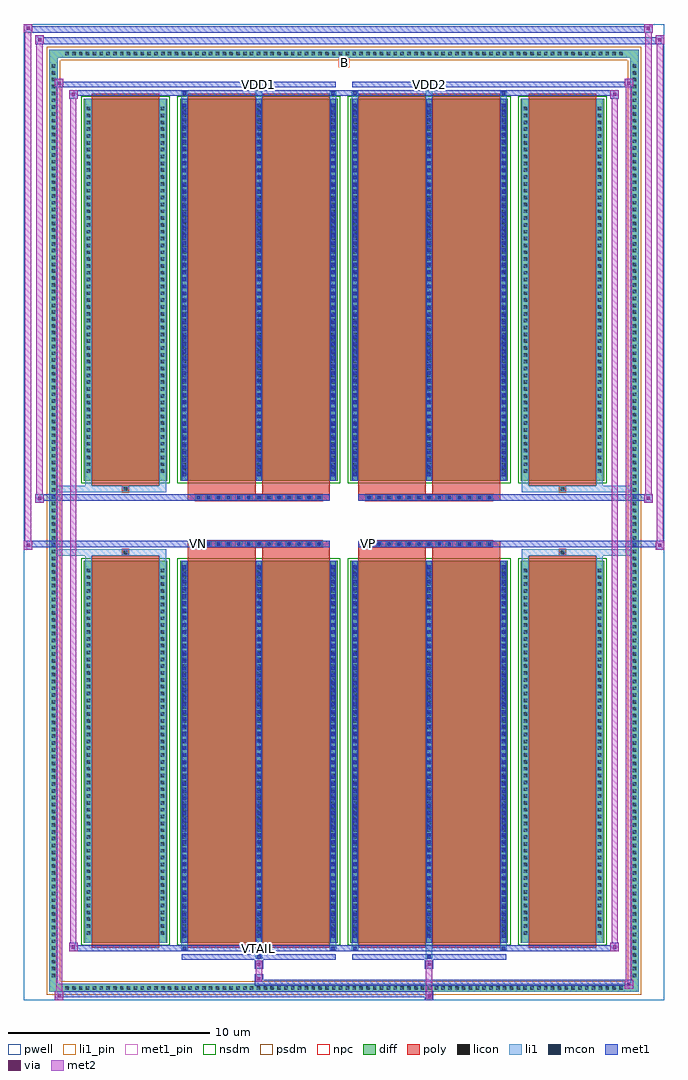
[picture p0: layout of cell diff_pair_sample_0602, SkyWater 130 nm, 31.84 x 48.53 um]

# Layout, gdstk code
import gdstk
lib = gdstk.Library(unit=1e-6, precision=5e-09)
def R(c, l, rs):  # rectangles x0, y0, x1, y1
    for r in rs: c.add(gdstk.rectangle(r[:2], r[2:], *l))
def A(c, l, x, y, w, h, nx, ny, dx, dy):  # array of equal rectangles
    R(c, l, [(x+i*dx, y+j*dy, x+i*dx+w, y+j*dy+h) for i in range(nx) for j in range(ny)])
def P(c, l, *ps):  # polygons
    for p in ps: c.add(gdstk.Polygon(p, *l))
pwell = (64, 44)
diff = (65, 20)
poly = (66, 20)
licon = (66, 44)
li1_pin = (67, 16)
li1 = (67, 20)
mcon = (67, 44)
met1_pin = (68, 16)
met1 = (68, 20)
via = (68, 44)
met2 = (69, 20)
nsdm = (93, 44)
psdm = (94, 20)
npc = (95, 20)

diff_pair_sample_0602 = lib.new_cell('diff_pair_sample_0602')
R(diff_pair_sample_0602, pwell, [(-15.92,-23.83,15.92,24.7), (-13.24,-22.02,-0.01,-0.8), (0.01,-22.02,13.24,-0.8), (-13.24,0.8,-0.01,22.02), (0.01,0.8,13.24,22.02)])
A(diff_pair_sample_0602, diff, -13.975, -23.43, 0.41, 0.41, 82, 2, 0.34, 46.45)
A(diff_pair_sample_0602, diff, -14.65, -22.815, 0.41, 0.41, 1, 134, 0, 0.34)
A(diff_pair_sample_0602, diff, 14.24, -22.815, 0.41, 0.41, 1, 134, 0, 0.34)
R(diff_pair_sample_0602, diff, [(-13.975,-23.43,13.975,-23.02), (-14.65,-22.815,-14.24,22.815), (14.24,-22.815,14.65,22.815), (-12.93,-20.975,-8.79,-1.985), (-8.15,-20.975,-0.32,-1.985), (0.32,-20.975,8.15,-1.985), (8.79,-20.975,12.93,-1.985), (-12.93,1.985,-8.79,20.975), (-8.15,1.985,-0.32,20.975), (0.32,1.985,8.15,20.975), (8.79,1.985,12.93,20.975), (-13.975,23.02,13.975,23.43)])
P(diff_pair_sample_0602, diff, [(14.65,23.43),(-14.65,23.43),(-14.65,-23.02),(-14.24,-23.02),(-14.24,23.02),(14.24,23.02),(14.24,-23.02),(-14.24,-23.02),(-14.65,-23.02),(-14.65,-23.43),(14.65,-23.43)])
A(diff_pair_sample_0602, poly, -7.4, -1.33, 0.33, 0.33, 13, 2, 0.5, 2.33)
A(diff_pair_sample_0602, poly, 1.07, -1.33, 0.33, 0.33, 13, 2, 0.5, 2.33)
R(diff_pair_sample_0602, poly, [(-12.54,-21.225,-9.18,-1.735), (-7.76,-21.225,-4.4,-1.735), (-4.07,-21.225,-0.71,-1.735), (0.71,-21.225,4.07,-1.735), (4.4,-21.225,7.76,-1.735), (9.18,-21.225,12.54,-1.735), (-11.025,-1.735,-10.695,-1.405), (-11.025,-1.735,-10.695,-1.405), (-7.76,-1.735,-4.4,-1.33), (-4.07,-1.735,-0.71,-1.33), (0.71,-1.735,4.07,-1.33), (4.4,-1.735,7.76,-1.33), (10.695,-1.735,11.025,-1.405), (10.695,-1.735,11.025,-1.405), (-7.76,-1.33,-0.71,-1), (0.71,-1.33,7.76,-1), (-7.76,1,-0.71,1.33), (0.71,1,7.76,1.33), (-7.76,1.33,-4.4,1.735), (-4.07,1.33,-0.71,1.735), (0.71,1.33,4.07,1.735), (4.4,1.33,7.76,1.735), (-11.025,1.405,-10.695,1.735), (-11.025,1.405,-10.695,1.735), (10.695,1.405,11.025,1.735), (10.695,1.405,11.025,1.735), (-12.54,1.735,-9.18,21.225), (-7.76,1.735,-4.4,21.225), (-4.07,1.735,-0.71,21.225), (0.71,1.735,4.07,21.225), (4.4,1.735,7.76,21.225), (9.18,1.735,12.54,21.225)])
A(diff_pair_sample_0602, licon, -13.855, -23.31, 0.17, 0.17, 82, 2, 0.34, 46.45)
A(diff_pair_sample_0602, licon, -14.53, -22.695, 0.17, 0.17, 1, 134, 0, 0.34)
A(diff_pair_sample_0602, licon, 14.36, -22.695, 0.17, 0.17, 1, 134, 0, 0.34)
A(diff_pair_sample_0602, licon, -12.79, -20.575, 0.17, 0.17, 1, 54, 0, 0.34)
A(diff_pair_sample_0602, licon, -9.1, -20.575, 0.17, 0.17, 1, 54, 0, 0.34)
A(diff_pair_sample_0602, licon, -8.01, -20.575, 0.17, 0.17, 3, 54, 3.69, 0.34)
A(diff_pair_sample_0602, licon, 0.46, -20.575, 0.17, 0.17, 3, 54, 3.69, 0.34)
A(diff_pair_sample_0602, licon, 8.93, -20.575, 0.17, 0.17, 1, 54, 0, 0.34)
A(diff_pair_sample_0602, licon, 12.62, -20.575, 0.17, 0.17, 1, 54, 0, 0.34)
A(diff_pair_sample_0602, licon, -7.32, -1.25, 0.17, 0.17, 13, 2, 0.5, 2.33)
A(diff_pair_sample_0602, licon, 1.15, -1.25, 0.17, 0.17, 13, 2, 0.5, 2.33)
A(diff_pair_sample_0602, licon, -12.79, 2.385, 0.17, 0.17, 1, 54, 0, 0.34)
A(diff_pair_sample_0602, licon, -9.1, 2.385, 0.17, 0.17, 1, 54, 0, 0.34)
A(diff_pair_sample_0602, licon, -8.01, 2.385, 0.17, 0.17, 3, 54, 3.69, 0.34)
A(diff_pair_sample_0602, licon, 0.46, 2.385, 0.17, 0.17, 3, 54, 3.69, 0.34)
A(diff_pair_sample_0602, licon, 8.93, 2.385, 0.17, 0.17, 1, 54, 0, 0.34)
A(diff_pair_sample_0602, licon, 12.62, 2.385, 0.17, 0.17, 1, 54, 0, 0.34)
R(diff_pair_sample_0602, licon, [(-10.945,-1.655,-10.775,-1.485), (10.775,-1.655,10.945,-1.485), (-10.945,1.485,-10.775,1.655), (10.775,1.485,10.945,1.655)])
R(diff_pair_sample_0602, li1_pin, [(-0.25,22.52,0.25,23.02)])
A(diff_pair_sample_0602, li1, -13.935, -23.39, 0.33, 0.33, 82, 2, 0.34, 46.45)
A(diff_pair_sample_0602, li1, -14.61, -22.775, 0.33, 0.33, 1, 134, 0, 0.34)
A(diff_pair_sample_0602, li1, 14.28, -22.775, 0.33, 0.33, 1, 134, 0, 0.34)
A(diff_pair_sample_0602, li1, -8.09, -20.975, 0.33, 18.99, 3, 2, 3.69, 22.96)
A(diff_pair_sample_0602, li1, 0.38, -20.975, 0.33, 18.99, 3, 2, 3.69, 22.96)
A(diff_pair_sample_0602, li1, -8.01, -20.745, 0.17, 0.17, 3, 52, 3.69, 0.36)
A(diff_pair_sample_0602, li1, -8.01, -20.745, 0.17, 18.53, 3, 2, 3.69, 22.96)
A(diff_pair_sample_0602, li1, 0.46, -20.745, 0.17, 0.17, 3, 52, 3.69, 0.36)
A(diff_pair_sample_0602, li1, 0.46, -20.745, 0.17, 18.53, 3, 2, 3.69, 22.96)
A(diff_pair_sample_0602, li1, -12.87, -20.655, 0.33, 0.33, 1, 54, 0, 0.34)
A(diff_pair_sample_0602, li1, -9.18, -20.655, 0.33, 0.33, 1, 54, 0, 0.34)
A(diff_pair_sample_0602, li1, -8.09, -20.655, 0.33, 0.33, 3, 54, 3.69, 0.34)
A(diff_pair_sample_0602, li1, 0.38, -20.655, 0.33, 0.33, 3, 54, 3.69, 0.34)
A(diff_pair_sample_0602, li1, 8.85, -20.655, 0.33, 0.33, 1, 54, 0, 0.34)
A(diff_pair_sample_0602, li1, 12.54, -20.655, 0.33, 0.33, 1, 54, 0, 0.34)
A(diff_pair_sample_0602, li1, -7.4, -1.33, 0.33, 0.33, 13, 2, 0.5, 2.33)
A(diff_pair_sample_0602, li1, 1.07, -1.33, 0.33, 0.33, 13, 2, 0.5, 2.33)
A(diff_pair_sample_0602, li1, -8.01, 2.215, 0.17, 0.17, 3, 52, 3.69, 0.36)
A(diff_pair_sample_0602, li1, 0.46, 2.215, 0.17, 0.17, 3, 52, 3.69, 0.36)
A(diff_pair_sample_0602, li1, -12.87, 2.305, 0.33, 0.33, 1, 54, 0, 0.34)
A(diff_pair_sample_0602, li1, -9.18, 2.305, 0.33, 0.33, 1, 54, 0, 0.34)
A(diff_pair_sample_0602, li1, -8.09, 2.305, 0.33, 0.33, 3, 54, 3.69, 0.34)
A(diff_pair_sample_0602, li1, 0.38, 2.305, 0.33, 0.33, 3, 54, 3.69, 0.34)
A(diff_pair_sample_0602, li1, 8.85, 2.305, 0.33, 0.33, 1, 54, 0, 0.34)
A(diff_pair_sample_0602, li1, 12.54, 2.305, 0.33, 0.33, 1, 54, 0, 0.34)
R(diff_pair_sample_0602, li1, [(-14.65,-23.43,-14.24,-23.02), (-14.65,-23.43,-14.24,-23.02), (-14.24,-23.43,14.24,-23.02), (14.24,-23.43,14.65,-23.02), (14.24,-23.43,14.65,-23.02), (-14.65,-23.02,-14.24,23.02), (14.24,-23.02,14.65,23.02), (-4.4,-21.78,-4.07,-20.975), (-4.32,-21.78,-4.15,-21.61), (4.07,-21.78,4.4,-20.975), (4.15,-21.78,4.32,-21.61), (-8.09,-21.35,-7.76,-20.975), (-8.01,-21.35,-7.84,-21.18), (-0.71,-21.35,-0.38,-20.975), (-0.63,-21.35,-0.46,-21.18), (0.38,-21.35,0.71,-20.975), (0.46,-21.35,0.63,-21.18), (7.76,-21.35,8.09,-20.975), (7.84,-21.35,8.01,-21.18), (-12.87,-20.975,-12.54,-1.985), (-9.18,-20.975,-8.85,-1.985), (8.85,-20.975,9.18,-1.985), (12.54,-20.975,12.87,-1.985), (-12.87,-1.985,-12.54,-1.405), (-9.18,-1.985,-8.85,-1.405), (8.85,-1.985,9.18,-1.405), (12.54,-1.985,12.87,-1.405), (-14.65,-1.735,-11.025,-1.405), (-12.87,-1.735,-11.025,-1.405), (-11.025,-1.735,-10.695,-1.405), (-10.695,-1.735,-8.85,-1.405), (8.85,-1.735,10.695,-1.405), (10.695,-1.735,11.025,-1.405), (10.695,-1.735,14.65,-1.405), (11.025,-1.735,12.87,-1.405), (-14.65,1.405,-11.025,1.735), (-12.87,1.405,-11.025,1.735), (-12.87,1.405,-12.54,1.985), (-11.025,1.405,-10.695,1.735), (-10.695,1.405,-8.85,1.735), (-9.18,1.405,-8.85,1.985), (8.85,1.405,10.695,1.735), (8.85,1.405,9.18,1.985), (10.695,1.405,11.025,1.735), (10.695,1.405,14.65,1.735), (11.025,1.405,12.87,1.735), (12.54,1.405,12.87,1.985), (-12.87,1.985,-12.54,20.975), (-9.18,1.985,-8.85,20.975), (8.85,1.985,9.18,20.975), (12.54,1.985,12.87,20.975), (-8.09,20.975,-7.76,21.35), (-4.4,20.975,-4.07,21.78), (-0.71,20.975,-0.38,21.35), (0.38,20.975,0.71,21.35), (4.07,20.975,4.4,21.78), (7.76,20.975,8.09,21.35), (-8.01,21.18,-7.84,21.35), (-0.63,21.18,-0.46,21.35), (0.46,21.18,0.63,21.35), (7.84,21.18,8.01,21.35), (-4.32,21.61,-4.15,21.78), (4.15,21.61,4.32,21.78), (-14.65,23.02,-14.24,23.43), (-14.65,23.02,-14.24,23.43), (-14.24,23.02,14.24,23.43), (14.24,23.02,14.65,23.43), (14.24,23.02,14.65,23.43)])
A(diff_pair_sample_0602, mcon, -8.01, -20.745, 0.17, 0.17, 3, 52, 3.69, 0.36)
A(diff_pair_sample_0602, mcon, 0.46, -20.745, 0.17, 0.17, 3, 52, 3.69, 0.36)
A(diff_pair_sample_0602, mcon, -7.32, -1.25, 0.17, 0.17, 13, 2, 0.5, 2.33)
A(diff_pair_sample_0602, mcon, 1.15, -1.25, 0.17, 0.17, 13, 2, 0.5, 2.33)
A(diff_pair_sample_0602, mcon, -8.01, 2.215, 0.17, 0.17, 3, 52, 3.69, 0.36)
A(diff_pair_sample_0602, mcon, 0.46, 2.215, 0.17, 0.17, 3, 52, 3.69, 0.36)
R(diff_pair_sample_0602, mcon, [(-4.32,-21.78,-4.15,-21.61), (4.15,-21.78,4.32,-21.61), (-8.01,-21.35,-7.84,-21.18), (-0.63,-21.35,-0.46,-21.18), (0.46,-21.35,0.63,-21.18), (7.84,-21.35,8.01,-21.18), (-8.01,21.18,-7.84,21.35), (-0.63,21.18,-0.46,21.35), (0.46,21.18,0.63,21.35), (7.84,21.18,8.01,21.35), (-4.32,21.61,-4.15,21.78), (4.15,21.61,4.32,21.78)])
R(diff_pair_sample_0602, met1_pin, [(-4.37,-21.39,-4.1,-21.12), (-7.37,-1.29,-7.1,-1.02), (1.1,-1.29,1.37,-1.02), (-4.37,21.57,-4.1,21.84), (4.1,21.57,4.37,21.84)])
A(diff_pair_sample_0602, met1, -8.07, -20.975, 0.29, 18.99, 3, 2, 3.69, 22.96)
A(diff_pair_sample_0602, met1, 0.4, -20.975, 0.29, 18.99, 3, 2, 3.69, 22.96)
A(diff_pair_sample_0602, met1, -8.07, -20.805, 0.29, 0.29, 3, 52, 3.69, 0.36)
A(diff_pair_sample_0602, met1, 0.4, -20.805, 0.29, 0.29, 3, 52, 3.69, 0.36)
A(diff_pair_sample_0602, met1, -7.38, -1.31, 0.29, 0.29, 13, 2, 0.5, 2.33)
A(diff_pair_sample_0602, met1, 1.09, -1.31, 0.29, 0.29, 13, 2, 0.5, 2.33)
A(diff_pair_sample_0602, met1, -8.07, 2.155, 0.29, 0.29, 3, 52, 3.69, 0.36)
A(diff_pair_sample_0602, met1, 0.4, 2.155, 0.29, 0.29, 3, 52, 3.69, 0.36)
R(diff_pair_sample_0602, met1, [(-14.38,-23.83,-13.95,-23.4), (4.02,-23.83,4.45,-23.4), (-14.38,-23.69,4.45,-23.4), (13.95,-23.26,14.38,-22.83), (-4.45,-23.12,14.38,-22.83), (-4.45,-22.98,-4.02,-22.55), (-4.45,-22.27,-4.02,-21.84), (4.02,-22.27,4.45,-21.84), (-8.07,-21.84,-0.4,-21.55), (-4.38,-21.84,-4.09,-21.55), (0.4,-21.84,8.07,-21.55), (4.09,-21.84,4.38,-21.55), (-13.67,-21.41,-13.24,-20.98), (-13.67,-21.41,-8.07,-21.12), (-8.07,-21.41,-7.78,-21.12), (-8.07,-21.41,-0.4,-21.12), (-0.69,-21.41,-0.4,-21.12), (-0.4,-21.41,0.4,-21.12), (0.4,-21.41,0.69,-21.12), (0.4,-21.41,8.07,-21.12), (7.78,-21.41,8.07,-21.12), (8.07,-21.41,13.67,-21.12), (13.24,-21.41,13.67,-20.98), (-15.92,-1.43,-15.49,-1), (15.49,-1.43,15.92,-1), (-15.92,-1.33,-0.71,-1), (-7.76,-1.33,-0.71,-1), (0.71,-1.33,7.76,-1), (0.71,-1.33,15.92,-1), (-15.35,0.9,-14.92,1.33), (14.92,0.9,15.35,1.33), (-15.35,1,-7.76,1.33), (-7.76,1,-0.71,1.33), (0.71,1,7.76,1.33), (7.76,1,15.35,1.33), (-13.67,20.98,-13.24,21.41), (13.24,20.98,13.67,21.41), (-13.67,21.12,-8.07,21.41), (-8.07,21.12,-7.78,21.41), (-8.07,21.12,-0.4,21.41), (-0.69,21.12,-0.4,21.41), (-0.4,21.12,0.4,21.41), (0.4,21.12,0.69,21.41), (0.4,21.12,8.07,21.41), (7.78,21.12,8.07,21.41), (8.07,21.12,13.67,21.41), (-14.38,21.55,-13.95,21.98), (-14.38,21.55,-8.07,21.84), (-8.07,21.55,-0.4,21.84), (-4.38,21.55,-4.09,21.84), (0.4,21.55,8.07,21.84), (4.09,21.55,4.38,21.84), (8.07,21.55,14.38,21.84), (13.95,21.55,14.38,21.98), (-15.35,23.7,-14.92,24.13), (-15.35,23.7,-13.24,24.03), (-13.24,23.7,13.24,24.03), (13.24,23.7,15.92,24.03), (15.49,23.7,15.92,24.13), (-15.92,24.27,-15.49,24.7), (-15.92,24.27,-13.24,24.6), (-13.24,24.27,13.24,24.6), (13.24,24.27,15.35,24.6), (14.92,24.27,15.35,24.7)])
R(diff_pair_sample_0602, via, [(-14.24,-23.69,-14.09,-23.54), (4.16,-23.69,4.31,-23.54), (14.09,-23.12,14.24,-22.97), (-4.31,-22.84,-4.16,-22.69), (-4.31,-22.13,-4.16,-21.98), (4.16,-22.13,4.31,-21.98), (-13.53,-21.27,-13.38,-21.12), (13.38,-21.27,13.53,-21.12), (-15.78,-1.29,-15.63,-1.14), (15.63,-1.29,15.78,-1.14), (-15.21,1.04,-15.06,1.19), (15.06,1.04,15.21,1.19), (-13.53,21.12,-13.38,21.27), (13.38,21.12,13.53,21.27), (-14.24,21.69,-14.09,21.84), (14.09,21.69,14.24,21.84), (-15.21,23.84,-15.06,23.99), (15.63,23.84,15.78,23.99), (-15.78,24.41,-15.63,24.56), (15.06,24.41,15.21,24.56)])
R(diff_pair_sample_0602, met2, [(-14.38,-23.83,-13.95,-23.4), (-14.31,-23.83,-14.02,21.98), (-14.02,-23.83,-13.95,-23.4), (-14.33,-23.78,-14,-23.45), (4.07,-23.78,4.4,-23.45), (4.07,-23.45,4.4,-22.22), (13.95,-23.26,14.38,-22.83), (14.02,-23.26,14.31,21.98), (14.31,-23.26,14.38,-22.83), (14,-23.21,14.33,-22.88), (-4.4,-22.93,-4.07,-22.6), (-4.4,-22.6,-4.07,-22.22), (-4.4,-22.22,-4.07,-21.89), (4.07,-22.22,4.4,-21.89), (-13.67,-21.41,-13.24,-20.98), (-13.6,-21.41,-13.31,21.41), (-13.31,-21.41,-13.24,-20.98), (13.24,-21.41,13.67,-20.98), (13.31,-21.41,13.6,21.41), (13.6,-21.41,13.67,-20.98), (-13.62,-21.36,-13.29,-21.03), (13.29,-21.36,13.62,-21.03), (-15.92,-1.43,-15.49,-1), (-15.87,-1.43,-15.54,24.7), (-15.54,-1.43,-15.49,-1), (15.49,-1.43,15.92,-1), (15.54,-1.43,15.87,24.13), (15.87,-1.43,15.92,-1), (-15.87,-1.38,-15.54,-1.05), (15.54,-1.38,15.87,-1.05), (-15.35,0.9,-14.92,1.33), (-15.3,0.9,-14.97,24.13), (-14.97,0.9,-14.92,1.33), (14.92,0.9,15.35,1.33), (14.97,0.9,15.3,24.7), (15.3,0.9,15.35,1.33), (-15.3,0.95,-14.97,1.28), (14.97,0.95,15.3,1.28), (-13.67,20.98,-13.24,21.41), (-13.31,20.98,-13.24,21.41), (13.24,20.98,13.67,21.41), (13.6,20.98,13.67,21.41), (-13.62,21.03,-13.29,21.36), (13.29,21.03,13.62,21.36), (-14.38,21.55,-13.95,21.98), (-14.02,21.55,-13.95,21.98), (13.95,21.55,14.38,21.98), (14.31,21.55,14.38,21.98), (-14.33,21.6,-14,21.93), (14,21.6,14.33,21.93), (-15.35,23.7,-14.92,24.13), (-14.97,23.7,-14.92,24.13), (15.49,23.7,15.92,24.13), (15.87,23.7,15.92,24.13), (-15.3,23.75,-14.97,24.08), (15.54,23.75,15.87,24.08), (-15.92,24.27,-15.49,24.7), (-15.54,24.27,-15.49,24.7), (14.92,24.27,15.35,24.7), (15.3,24.27,15.35,24.7), (-15.87,24.32,-15.54,24.65), (14.97,24.32,15.3,24.65)])
R(diff_pair_sample_0602, nsdm, [(-13.06,-21.105,-8.66,-1.855), (-8.28,-21.105,-0.19,-1.855), (0.19,-21.105,8.28,-1.855), (8.66,-21.105,13.06,-1.855), (-13.06,1.855,-8.66,21.105), (-8.28,1.855,-0.19,21.105), (0.19,1.855,8.28,21.105), (8.66,1.855,13.06,21.105)])
P(diff_pair_sample_0602, psdm, [(14.78,23.56),(-14.78,23.56),(-14.78,-22.89),(-14.11,-22.89),(-14.11,22.89),(14.11,22.89),(14.11,-22.89),(-14.11,-22.89),(-14.78,-22.89),(-14.78,-23.56),(14.78,-23.56)])
A(diff_pair_sample_0602, npc, -7.42, -1.35, 0.37, 0.37, 13, 2, 0.5, 2.33)
A(diff_pair_sample_0602, npc, 1.05, -1.35, 0.37, 0.37, 13, 2, 0.5, 2.33)
R(diff_pair_sample_0602, npc, [(-11.045,-1.755,-10.675,-1.385), (10.675,-1.755,11.045,-1.385), (-7.42,-1.35,-6.55,-0.98), (-7.42,-1.35,-6.55,-0.98), (-6.92,-1.35,-6.05,-0.98), (-6.92,-1.35,-6.05,-0.98), (-6.42,-1.35,-5.55,-0.98), (-6.42,-1.35,-5.55,-0.98), (-5.92,-1.35,-5.05,-0.98), (-5.92,-1.35,-5.05,-0.98), (-5.42,-1.35,-4.55,-0.98), (-5.42,-1.35,-4.55,-0.98), (-4.92,-1.35,-4.05,-0.98), (-4.92,-1.35,-4.05,-0.98), (-4.42,-1.35,-3.55,-0.98), (-4.42,-1.35,-3.55,-0.98), (-3.92,-1.35,-3.05,-0.98), (-3.92,-1.35,-3.05,-0.98), (-3.42,-1.35,-2.55,-0.98), (-3.42,-1.35,-2.55,-0.98), (-2.92,-1.35,-2.05,-0.98), (-2.92,-1.35,-2.05,-0.98), (-2.42,-1.35,-1.55,-0.98), (-2.42,-1.35,-1.55,-0.98), (-1.92,-1.35,-1.05,-0.98), (-1.92,-1.35,-1.05,-0.98), (1.05,-1.35,1.92,-0.98), (1.05,-1.35,1.92,-0.98), (1.55,-1.35,2.42,-0.98), (1.55,-1.35,2.42,-0.98), (2.05,-1.35,2.92,-0.98), (2.05,-1.35,2.92,-0.98), (2.55,-1.35,3.42,-0.98), (2.55,-1.35,3.42,-0.98), (3.05,-1.35,3.92,-0.98), (3.05,-1.35,3.92,-0.98), (3.55,-1.35,4.42,-0.98), (3.55,-1.35,4.42,-0.98), (4.05,-1.35,4.92,-0.98), (4.05,-1.35,4.92,-0.98), (4.55,-1.35,5.42,-0.98), (4.55,-1.35,5.42,-0.98), (5.05,-1.35,5.92,-0.98), (5.05,-1.35,5.92,-0.98), (5.55,-1.35,6.42,-0.98), (5.55,-1.35,6.42,-0.98), (6.05,-1.35,6.92,-0.98), (6.05,-1.35,6.92,-0.98), (6.55,-1.35,7.42,-0.98), (6.55,-1.35,7.42,-0.98), (-7.42,0.98,-6.55,1.35), (-7.42,0.98,-6.55,1.35), (-6.92,0.98,-6.05,1.35), (-6.92,0.98,-6.05,1.35), (-6.42,0.98,-5.55,1.35), (-6.42,0.98,-5.55,1.35), (-5.92,0.98,-5.05,1.35), (-5.92,0.98,-5.05,1.35), (-5.42,0.98,-4.55,1.35), (-5.42,0.98,-4.55,1.35), (-4.92,0.98,-4.05,1.35), (-4.92,0.98,-4.05,1.35), (-4.42,0.98,-3.55,1.35), (-4.42,0.98,-3.55,1.35), (-3.92,0.98,-3.05,1.35), (-3.92,0.98,-3.05,1.35), (-3.42,0.98,-2.55,1.35), (-3.42,0.98,-2.55,1.35), (-2.92,0.98,-2.05,1.35), (-2.92,0.98,-2.05,1.35), (-2.42,0.98,-1.55,1.35), (-2.42,0.98,-1.55,1.35), (-1.92,0.98,-1.05,1.35), (-1.92,0.98,-1.05,1.35), (1.05,0.98,1.92,1.35), (1.05,0.98,1.92,1.35), (1.55,0.98,2.42,1.35), (1.55,0.98,2.42,1.35), (2.05,0.98,2.92,1.35), (2.05,0.98,2.92,1.35), (2.55,0.98,3.42,1.35), (2.55,0.98,3.42,1.35), (3.05,0.98,3.92,1.35), (3.05,0.98,3.92,1.35), (3.55,0.98,4.42,1.35), (3.55,0.98,4.42,1.35), (4.05,0.98,4.92,1.35), (4.05,0.98,4.92,1.35), (4.55,0.98,5.42,1.35), (4.55,0.98,5.42,1.35), (5.05,0.98,5.92,1.35), (5.05,0.98,5.92,1.35), (5.55,0.98,6.42,1.35), (5.55,0.98,6.42,1.35), (6.05,0.98,6.92,1.35), (6.05,0.98,6.92,1.35), (6.55,0.98,7.42,1.35), (6.55,0.98,7.42,1.35), (-11.045,1.385,-10.675,1.755), (10.675,1.385,11.045,1.755)])
diff_pair_sample_0602.add(gdstk.Label('VTAIL', (-4.235,-21.255), layer=68, texttype=5))
diff_pair_sample_0602.add(gdstk.Label('VN', (-7.235,-1.155), layer=68, texttype=5))
diff_pair_sample_0602.add(gdstk.Label('VP', (1.235,-1.155), layer=68, texttype=5))
diff_pair_sample_0602.add(gdstk.Label('B', (0,22.77), layer=67, texttype=5))
diff_pair_sample_0602.add(gdstk.Label('VDD2', (4.235,21.705), layer=68, texttype=5))
diff_pair_sample_0602.add(gdstk.Label('VDD1', (-4.235,21.705), layer=68, texttype=5))

lib.write_gds('diff_pair_sample_0602.gds')
